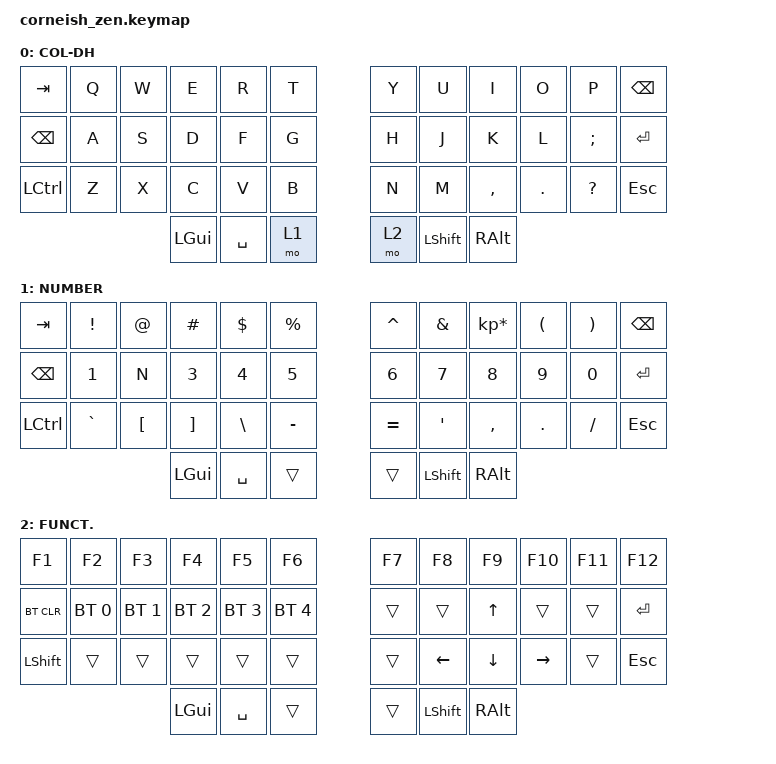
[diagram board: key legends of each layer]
#include <behaviors.dtsi>
#include <dt-bindings/zmk/keys.h>
#include <dt-bindings/zmk/bt.h>

/ {
  chosen {
    zmk,matrix_transform = &default_transform;
    //zmk,matrix_transform = &five_column_transform;
  };
};

/ {
        keymap {
                compatible = "zmk,keymap";

                default_layer {
                        label = "COL-DH";

// -----------------------------------------------------------------------------------------
// |  TAB |  Q  |  W  |  E  |  R  |  T  |   |  Y  |  U   |  I  |  O  |  P  | BKSP |
// | BKSP |  A  |  S  |  D  |  F  |  G  |   |  H  |  J   |  K  |  L  |  ;  | ENT  |
// | CTRL |  Z  |  X  |  C  |  V  |  B  |   |  N  |  M   |  ,  |  .  |  ?  | ESC  |
//                     | GUI | SPC | LWR |   | RSE | SHFT | ALT |
                        bindings = <
   &kp TAB   &kp Q &kp W &kp E &kp R &kp T   &kp Y &kp U  &kp I     &kp O   &kp P      &kp BSPC
   &kp BKSP  &kp A &kp S &kp D &kp F &kp G   &kp H &kp J  &kp K     &kp L   &kp SEMI   &kp RET
   &kp LCTRL &kp Z &kp X &kp C &kp V &kp B   &kp N &kp M  &kp COMMA &kp DOT &kp QMARK &kp ESC
                   &kp LGUI &kp SPACE &mo 1   &mo 2 &kp LSHFT &kp RALT
                  
                        >;
                };
                lower_layer {
                        label = "NUMBER";
// -----------------------------------------------------------------------------------------
// |  TAB |  !  |  @  |  #  |  $  |  %  |   |  ^  |  &  |  *  |  (  |  )  | BKSP |
// | BKSP |  1  |  2  |  3  |  4  |  5  |   |  6  |  7  |  8  |  9  |  0  | ENT  |
// | CTRL |  `  |  [  |  ]  |  \  |  -  |   |  =  |  '  |  ,  |  .  |  /  | ESC  |
//                     | GUI| SPC |     |   |     | SHFT| ALT |
                        bindings = <
  &kp  TAB   &kp EXCL  &kp AT   &kp HASH &kp DLLR  &kp PRCNT    &kp CARET  &kp AMPS  &kp KP_MULTIPLY &kp LPAR &kp RPAR  &kp BSPC
  &kp BKSP   &kp N1    &kp N    &kp N3   &kp N4    &kp N5       &kp N6     &kp N7    &kp N8          &kp N9   &kp N0    &kp RET
  &kp LCTRL  &kp GRAVE &kp LBKT &kp RBKT &kp BSLH  &kp MINUS    &kp EQUAL  &kp SQT   &kp COMMA       &kp DOT  &kp FSLH  &kp ESC
                          	    &kp LGUI &kp SPACE &trans       &trans     &kp LSHFT &kp RALT
                                    
                        >;
                };

                raise_layer {
                        label = "FUNCT.";
// -----------------------------------------------------------------------------------------
// |  F1  | F2  | F3  | F4  | F5  | F6  |   | F7 | F8   | F9  | F10 | F11 |  F12 |
// | BKSP | BT1 | BT2 | BT3 | BT4 | BT5 |   |    |      |  UP |     |     |  ENT |
// | CTRL |     |     |     |     |     |   |    | LFT  | DWN | RGT |     |  ESC |
//                    | GUI | SPC |     |   |    | SHFT | ALT |
                        bindings = <
   &kp F1     &kp F2       &kp F3       &kp F4       &kp F5       &kp F6         &kp F7   &kp F8    &kp F9    &kp F10   &kp F11 &kp F12
   &bt BT_CLR &bt BT_SEL 0 &bt BT_SEL 1 &bt BT_SEL 2 &bt BT_SEL 3 &bt BT_SEL 4   &trans   &trans    &kp UP    &trans    &trans  &kp RET
   &kp LSHFT  &trans       &trans       &trans       &trans       &trans         &trans   &kp LEFT  &kp DOWN  &kp RIGHT &trans  &kp ESC
                          	            &kp LGUI     &kp SPACE    &trans         &trans   &kp LSHFT &kp RALT

                        >;
                };
        };
};
